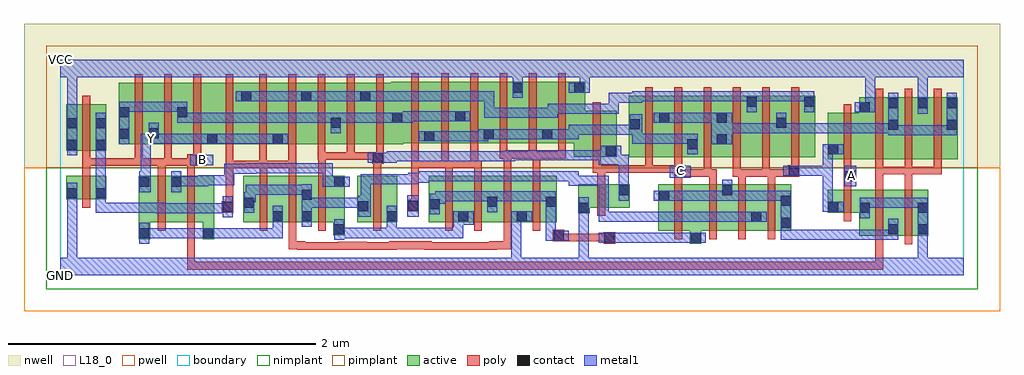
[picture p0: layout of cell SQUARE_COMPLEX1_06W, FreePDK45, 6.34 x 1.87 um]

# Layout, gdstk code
import gdstk
lib = gdstk.Library(unit=1e-6, precision=1e-09)
def R(c, l, rs):  # rectangles x0, y0, x1, y1
    for r in rs: c.add(gdstk.rectangle(r[:2], r[2:], *l))
def A(c, l, x, y, w, h, nx, ny, dx, dy):  # array of equal rectangles
    R(c, l, [(x+i*dx, y+j*dy, x+i*dx+w, y+j*dy+h) for i in range(nx) for j in range(ny)])
active = (1, 0)
pwell = (2, 0)
nwell = (3, 0)
nimplant = (4, 0)
pimplant = (5, 0)
poly = (9, 0)
contact = (10, 0)
metal1 = (11, 0)
L18_0 = (18, 0)
boundary = (235, 0)

square_complex1_06w = lib.new_cell('SQUARE_COMPLEX1_06W')
R(square_complex1_06w, active, [(4.09,0.205,4.165,0.42), (0.51,0.235,0.585,0.645), (0.925,0.235,1,0.535), (5.19,0.257,5.45,0.557), (5.375,0.257,5.64,0.557), (5.375,0.257,5.45,0.472), (5.565,0.257,5.64,0.557), (1.775,0.26,1.85,0.645), (3.885,0.29,4.165,0.59), (4.09,0.29,4.37,0.59), (4.295,0.29,4.56,0.59), (4.485,0.29,4.56,0.59), (4.485,0.29,4.75,0.59), (4.675,0.29,4.75,0.59), (4.295,0.33,4.37,0.59), (5.19,0.33,5.265,0.475), (0.51,0.345,0.79,0.645), (0.715,0.345,0.79,0.645), (0.715,0.345,1,0.645), (1.19,0.345,1.265,0.645), (1.19,0.345,1.45,0.645), (1.375,0.345,1.64,0.645), (1.375,0.345,1.45,0.55), (1.565,0.345,1.64,0.645), (1.565,0.345,1.85,0.645), (1.93,0.345,2.005,0.645), (1.93,0.345,2.19,0.645), (2.115,0.345,2.19,0.55), (2.395,0.345,2.47,0.55), (2.395,0.345,2.657,0.645), (2.582,0.345,2.657,0.42), (2.582,0.345,2.845,0.645), (2.77,0.345,3.035,0.645), (2.77,0.345,2.845,0.55), (2.96,0.345,3.225,0.645), (2.96,0.345,3.035,0.42), (3.15,0.345,3.225,0.645), (3.885,0.345,3.96,0.59), (3.365,0.402,3.44,0.59), (4.985,0.407,5.265,0.557), (4.985,0.407,5.06,0.557), (3.365,0.44,3.7,0.59), (3.625,0.46,3.7,0.59), (0.04,0.495,0.115,0.645), (0.04,0.495,0.3,0.645), (0.225,0.495,0.3,0.645), (4.985,0.755,5.265,1.055), (5.19,0.755,5.45,1.155), (5.375,0.755,5.45,1.155), (5.375,0.755,5.64,1.155), (5.565,0.755,5.83,1.155), (5.755,0.755,5.83,1.155), (3.695,0.765,3.96,1.165), (3.695,0.765,3.77,1.07), (3.885,0.765,4.145,1.165), (4.07,0.765,4.335,1.165), (4.26,0.765,4.335,1.07), (4.26,0.765,4.53,1.165), (4.455,0.765,4.53,1.165), (4.455,0.765,4.72,1.165), (4.645,0.765,4.905,1.165), (4.645,0.765,4.72,1.07), (3.335,0.77,3.615,1.07), (3.54,0.77,3.615,0.917), (4.985,0.78,5.06,0.94), (5.19,0.792,5.265,1.13), (0.04,0.81,0.115,1.11), (0.04,0.81,0.3,1.11), (0.225,0.81,0.3,1.11), (4.07,0.815,4.145,0.94), (0.38,0.85,0.645,1.25), (0.38,0.85,0.455,1.2), (0.57,0.85,0.83,1.25), (0.57,0.85,0.645,1.07), (0.755,0.85,1.025,1.25), (0.95,0.85,1.025,1.07), (0.95,0.85,1.245,1.25), (1.17,0.85,1.452,1.25), (1.377,0.85,1.637,1.25), (1.377,0.85,1.452,0.94), (1.562,0.85,1.827,1.25), (1.752,0.85,1.827,1.07), (1.752,0.85,2.02,1.25), (1.945,0.85,2.227,1.25), (3.885,0.85,3.96,1.07), (2.152,0.857,2.435,1.257), (2.36,0.857,2.635,1.257), (2.56,0.857,2.82,1.257), (2.745,0.857,3.01,1.257), (2.935,0.857,3.202,1.257), (3.127,0.857,3.41,1.257), (2.152,0.865,2.227,1.07), (2.36,0.865,2.435,0.94), (2.745,0.865,2.82,1.07), (3.127,0.865,3.202,1.07), (5.565,0.865,5.64,1.155), (2.56,0.885,2.635,1.07), (0.755,0.907,0.83,1.2), (1.17,0.907,1.245,1.2), (1.562,0.907,1.637,1.2), (1.945,0.907,2.02,1.2), (2.935,0.907,3.01,1.257), (3.335,0.907,3.41,1.257), (4.83,0.907,4.905,1.165)])
R(square_complex1_06w, pwell, [(-0.235,-0.235,6.105,0.7)])
R(square_complex1_06w, nwell, [(-0.235,0.7,6.105,1.635)])
R(square_complex1_06w, nimplant, [(-0.09,-0.09,5.96,0.7)])
R(square_complex1_06w, pimplant, [(-0.09,0.7,5.96,1.49)])
A(square_complex1_06w, poly, 4.215, 0.235, 0.05, 0.41, 3, 1, 0.19, 0)
A(square_complex1_06w, poly, 1.295, 0.29, 0.05, 0.41, 3, 1, 0.19, 0)
A(square_complex1_06w, poly, 2.5, 0.29, 0.05, 0.41, 4, 1, 0.19, 0)
A(square_complex1_06w, poly, 4.215, 0.595, 0.05, 0.095, 3, 1, 0.19, 0)
A(square_complex1_06w, poly, 4.18, 0.64, 0.05, 0.12, 3, 1, 0.19, 0)
A(square_complex1_06w, poly, 4.18, 0.64, 0.085, 0.05, 3, 1, 0.19, 0)
A(square_complex1_06w, poly, 5.295, 0.655, 0.05, 0.095, 3, 1, 0.19, 0)
A(square_complex1_06w, poly, 5.295, 0.7, 0.05, 0.51, 3, 1, 0.19, 0)
A(square_complex1_06w, poly, 3.8, 0.71, 0.05, 0.51, 6, 1, 0.19, 0)
A(square_complex1_06w, poly, 1.672, 0.75, 0.05, 0.095, 3, 1, 0.19, 0)
A(square_complex1_06w, poly, 2.855, 0.757, 0.05, 0.095, 3, 1, 0.19, 0)
A(square_complex1_06w, poly, 0.485, 0.795, 0.05, 0.51, 3, 1, 0.19, 0)
A(square_complex1_06w, poly, 1.292, 0.795, 0.05, 0.51, 5, 1, 0.19, 0)
A(square_complex1_06w, poly, 2.475, 0.802, 0.05, 0.51, 5, 1, 0.19, 0)
R(square_complex1_06w, poly, [(0.825,0.037,0.875,0.087), (0.825,0.037,0.875,0.087), (0.825,0.037,0.875,0.087), (0.825,0.037,1.21,0.087), (0.825,0.037,0.875,0.34), (1.16,0.037,1.21,0.087), (1.16,0.037,1.21,0.087), (1.16,0.037,1.21,0.087), (1.16,0.037,1.365,0.087), (1.315,0.037,1.365,0.087), (1.315,0.037,1.365,0.087), (1.315,0.037,1.365,0.087), (1.315,0.037,1.365,0.087), (1.315,0.037,1.365,0.087), (1.315,0.037,1.497,0.087), (1.447,0.037,1.497,0.087), (1.447,0.037,1.497,0.087), (1.447,0.037,1.497,0.087), (1.447,0.037,1.725,0.087), (1.675,0.037,1.725,0.087), (1.675,0.037,1.857,0.087), (1.807,0.037,1.857,0.087), (1.807,0.037,1.857,0.087), (1.807,0.037,1.857,0.087), (1.807,0.037,2.055,0.087), (2.005,0.037,2.055,0.087), (2.005,0.037,2.055,0.087), (2.005,0.037,2.055,0.087), (2.005,0.037,2.187,0.087), (2.137,0.037,2.187,0.087), (2.137,0.037,2.32,0.087), (2.27,0.037,2.32,0.087), (2.27,0.037,2.32,0.087), (2.27,0.037,2.32,0.087), (2.27,0.037,2.547,0.087), (2.497,0.037,2.547,0.087), (2.497,0.037,2.547,0.087), (2.497,0.037,2.547,0.087), (2.497,0.037,2.772,0.087), (2.722,0.037,2.772,0.087), (2.722,0.037,2.932,0.087), (2.882,0.037,2.932,0.087), (2.882,0.037,2.932,0.087), (2.882,0.037,2.932,0.087), (2.882,0.037,3.117,0.087), (3.067,0.037,3.117,0.087), (3.067,0.037,3.117,0.087), (3.067,0.037,3.117,0.087), (3.067,0.037,3.377,0.087), (3.327,0.037,3.377,0.087), (3.327,0.037,3.377,0.087), (3.327,0.037,3.377,0.087), (3.327,0.037,3.377,0.087), (3.327,0.037,3.377,0.087), (3.327,0.037,3.58,0.087), (3.53,0.037,3.58,0.087), (3.53,0.037,3.58,0.087), (3.53,0.037,3.58,0.087), (3.53,0.037,3.712,0.087), (3.662,0.037,3.712,0.087), (3.662,0.037,3.845,0.087), (3.795,0.037,3.845,0.087), (3.795,0.037,3.845,0.087), (3.795,0.037,3.845,0.087), (3.795,0.037,4.097,0.087), (4.047,0.037,4.097,0.087), (4.047,0.037,4.097,0.087), (4.047,0.037,4.097,0.087), (4.047,0.037,4.287,0.087), (4.237,0.037,4.287,0.087), (4.237,0.037,4.287,0.087), (4.237,0.037,4.287,0.087), (4.237,0.037,4.477,0.087), (4.427,0.037,4.477,0.087), (4.427,0.037,4.477,0.087), (4.427,0.037,4.477,0.087), (4.427,0.037,4.645,0.087), (4.595,0.037,4.645,0.087), (4.595,0.037,4.645,0.087), (4.595,0.037,4.645,0.087), (4.595,0.037,4.815,0.087), (4.765,0.037,4.815,0.087), (4.765,0.037,5.007,0.087), (4.957,0.037,5.007,0.087), (4.957,0.037,5.007,0.087), (4.957,0.037,5.007,0.087), (4.957,0.037,5.14,0.087), (5.09,0.037,5.14,0.087), (5.09,0.037,5.14,0.087), (5.09,0.037,5.14,0.087), (5.09,0.037,5.345,0.087), (5.295,0.037,5.345,0.087), (5.295,0.037,5.345,0.087), (5.295,0.037,5.345,0.087), (5.295,0.037,5.345,0.252), (1.542,0.165,1.725,0.215), (1.542,0.165,1.592,0.22), (1.675,0.165,1.725,0.215), (1.675,0.165,1.857,0.215), (1.807,0.165,1.857,0.217), (1.94,0.165,2.052,0.215), (1.94,0.165,1.99,0.217), (2.002,0.165,2.052,0.215), (2.002,0.165,2.187,0.215), (2.137,0.165,2.187,0.22), (2.365,0.165,2.415,0.22), (2.365,0.165,2.582,0.215), (2.532,0.165,2.582,0.215), (2.532,0.165,2.642,0.215), (2.592,0.165,2.642,0.215), (2.592,0.165,2.715,0.215), (2.665,0.165,2.715,0.215), (2.665,0.165,2.837,0.215), (2.787,0.165,2.837,0.22), (1.807,0.167,1.857,0.217), (1.807,0.167,1.857,0.217), (1.807,0.167,1.99,0.217), (1.485,0.17,1.535,0.22), (1.485,0.17,1.535,0.34), (1.485,0.17,1.592,0.22), (2.137,0.17,2.187,0.22), (2.137,0.17,2.187,0.22), (2.137,0.17,2.415,0.22), (2.787,0.17,2.93,0.22), (2.88,0.17,2.93,0.22), (2.88,0.17,2.93,0.34), (5.295,0.202,5.345,0.612), (5.485,0.202,5.535,0.612), (3.53,0.205,3.605,0.28), (3.2,0.22,3.275,0.295), (3.225,0.22,3.58,0.27), (3.53,0.22,3.58,0.27), (3.53,0.22,3.58,0.27), (3.99,0.235,4.04,0.645), (0.635,0.29,0.685,0.7), (0.825,0.29,0.875,0.7), (2.035,0.29,2.085,0.7), (5.09,0.352,5.14,0.612), (3.49,0.385,3.54,0.645), (1.05,0.407,1.125,0.482), (2.255,0.415,2.33,0.49), (1.075,0.432,1.125,0.482), (1.075,0.432,1.125,0.482), (1.075,0.432,1.125,0.745), (0.145,0.44,0.195,0.7), (2.28,0.44,2.33,0.745), (5.09,0.562,5.14,0.657), (5.295,0.562,5.345,0.705), (5.485,0.562,5.535,0.705), (3.49,0.595,3.54,0.715), (3.99,0.595,4.04,0.69), (5.09,0.607,5.165,0.682), (5.09,0.632,5.14,0.75), (3.99,0.64,4.065,0.715), (4.015,0.64,4.23,0.69), (4.18,0.64,4.23,0.69), (4.18,0.64,4.23,0.69), (4.405,0.64,4.61,0.69), (4.56,0.64,4.61,0.69), (4.56,0.64,4.61,0.69), (4.595,0.64,4.777,0.69), (4.727,0.64,4.777,0.69), (4.727,0.64,4.777,0.69), (4.727,0.64,4.802,0.715), (0.145,0.65,0.195,0.76), (0.635,0.65,0.685,0.76), (0.825,0.65,0.875,0.76), (1.295,0.65,1.345,0.745), (1.485,0.65,1.535,0.745), (1.675,0.65,1.725,0.8), (2.035,0.65,2.085,0.775), (2.5,0.65,2.55,0.745), (2.69,0.65,2.74,0.745), (2.88,0.65,2.93,0.807), (3.07,0.65,3.12,0.807), (5.295,0.655,5.345,0.705), (5.295,0.655,5.535,0.705), (5.485,0.655,5.535,0.705), (5.485,0.655,5.535,0.705), (5.485,0.655,5.535,0.705), (5.485,0.655,5.725,0.705), (5.675,0.655,5.725,0.705), (5.675,0.655,5.725,0.705), (5.675,0.655,5.725,0.705), (3.46,0.665,3.51,0.765), (3.46,0.665,3.54,0.715), (3.49,0.665,3.712,0.715), (3.662,0.665,3.712,0.715), (3.662,0.665,3.712,0.715), (3.662,0.665,3.712,0.715), (3.662,0.665,3.85,0.715), (3.8,0.665,3.85,0.76), (3.8,0.665,3.85,0.715), (3.8,0.665,4.04,0.715), (3.99,0.665,4.04,0.76), (3.99,0.665,4.04,0.715), (3.99,0.665,4.04,0.715), (4.75,0.665,4.8,0.76), (1.075,0.695,1.125,0.745), (1.075,0.695,1.125,0.745), (1.075,0.695,1.125,0.745), (1.075,0.695,1.125,0.845), (1.075,0.695,1.342,0.745), (1.292,0.695,1.342,0.845), (1.292,0.695,1.345,0.745), (1.295,0.695,1.345,0.745), (1.295,0.695,1.345,0.745), (1.295,0.695,1.532,0.745), (1.482,0.695,1.532,0.845), (1.482,0.695,1.535,0.745), (2.28,0.695,2.33,0.745), (2.28,0.695,2.33,0.745), (2.28,0.695,2.33,0.745), (2.28,0.695,2.33,0.745), (2.28,0.695,2.33,0.745), (2.28,0.695,2.33,0.852), (2.28,0.695,2.525,0.745), (2.475,0.695,2.525,0.852), (2.475,0.695,2.55,0.745), (2.5,0.695,2.55,0.745), (2.5,0.695,2.55,0.745), (2.5,0.695,2.715,0.745), (2.665,0.695,2.715,0.852), (2.665,0.695,2.74,0.745), (5.09,0.7,5.14,1.11), (0.145,0.71,0.195,0.805), (0.145,0.71,0.195,0.76), (0.145,0.71,0.402,0.76), (0.352,0.71,0.402,0.76), (0.352,0.71,0.402,0.76), (0.352,0.71,0.402,0.76), (0.352,0.71,0.535,0.76), (0.485,0.71,0.535,0.76), (0.485,0.71,0.535,0.76), (0.485,0.71,0.535,0.76), (0.485,0.71,0.685,0.76), (0.485,0.71,0.535,0.845), (0.635,0.71,0.725,0.76), (0.675,0.71,0.725,0.76), (0.675,0.71,0.725,0.76), (0.675,0.71,0.875,0.76), (0.675,0.71,0.725,0.845), (0.825,0.71,0.95,0.785), (3.46,0.715,3.51,1.125), (2.027,0.725,2.102,0.8), (0.865,0.735,0.915,0.845), (1.672,0.75,1.725,0.8), (1.675,0.75,1.725,0.8), (1.675,0.75,1.725,0.8), (1.675,0.75,1.912,0.8), (1.862,0.75,1.912,0.8), (1.862,0.75,2.055,0.8), (2.005,0.75,2.055,0.8), (2.005,0.75,2.077,0.8), (0.145,0.755,0.195,1.165), (2.855,0.757,2.93,0.807), (2.88,0.757,3.095,0.807), (3.045,0.757,3.095,0.807), (3.045,0.757,3.095,0.807), (3.045,0.757,3.12,0.807), (3.07,0.757,3.285,0.807), (3.235,0.757,3.285,0.807), (3.235,0.757,3.285,0.807), (3.235,0.757,3.285,0.807), (1.075,0.795,1.125,1.305), (2.28,0.802,2.33,1.312)])
A(square_complex1_06w, contact, 5.38, 1.085, 0.065, 0.065, 3, 1, 0.19, 0)
R(square_complex1_06w, contact, [(3.535,0.21,3.6,0.275), (4.095,0.21,4.16,0.275), (3.205,0.225,3.27,0.29), (0.515,0.24,0.58,0.305), (0.93,0.24,0.995,0.305), (1.78,0.265,1.845,0.33), (5.57,0.265,5.635,0.33), (5.38,0.267,5.445,0.332), (4.68,0.31,4.745,0.375), (4.49,0.347,4.555,0.412), (1.38,0.35,1.445,0.415), (1.57,0.35,1.635,0.415), (2.12,0.35,2.185,0.415), (2.587,0.35,2.652,0.415), (2.965,0.35,3.03,0.415), (5.195,0.405,5.26,0.47), (5.57,0.405,5.635,0.47), (3.37,0.407,3.435,0.472), (1.055,0.412,1.12,0.477), (4.99,0.412,5.055,0.477), (1.935,0.415,2,0.48), (2.26,0.42,2.325,0.485), (2.4,0.43,2.465,0.495), (1.195,0.44,1.26,0.505), (2.775,0.445,2.84,0.51), (3.155,0.445,3.22,0.51), (4.68,0.45,4.745,0.515), (3.89,0.485,3.955,0.55), (1.57,0.49,1.635,0.555), (0.045,0.5,0.11,0.565), (0.23,0.5,0.295,0.565), (3.63,0.52,3.695,0.585), (4.3,0.52,4.365,0.585), (0.515,0.575,0.58,0.64), (0.72,0.575,0.785,0.64), (1.78,0.575,1.845,0.64), (5.095,0.612,5.16,0.677), (3.995,0.645,4.06,0.71), (4.732,0.645,4.797,0.71), (0.88,0.715,0.945,0.78), (2.032,0.73,2.097,0.795), (3.545,0.775,3.61,0.84), (4.99,0.785,5.055,0.85), (0.045,0.815,0.11,0.88), (0.23,0.815,0.295,0.88), (4.075,0.82,4.14,0.885), (4.265,0.852,4.33,0.917), (0.955,0.855,1.02,0.92), (1.382,0.855,1.447,0.92), (2.365,0.87,2.43,0.935), (2.75,0.885,2.815,0.95), (3.132,0.885,3.197,0.95), (0.385,0.887,0.45,0.952), (0.575,0.89,0.64,0.955), (5.38,0.945,5.445,1.01), (5.76,0.945,5.825,1.01), (3.7,0.947,3.765,1.012), (0.045,0.955,0.11,1.02), (0.23,0.955,0.295,1.02), (1.757,0.957,1.822,1.022), (4.65,0.957,4.715,1.022), (2.157,0.992,2.222,1.057), (3.89,0.992,3.955,1.057), (4.265,0.992,4.33,1.057), (2.565,1,2.63,1.065), (0.385,1.027,0.45,1.092), (0.76,1.027,0.825,1.092), (5.195,1.06,5.26,1.125), (4.46,1.095,4.525,1.16), (4.835,1.095,4.9,1.16), (1.175,1.13,1.24,1.195), (1.567,1.13,1.632,1.195), (1.95,1.13,2.015,1.195), (2.94,1.187,3.005,1.252), (3.34,1.187,3.405,1.252)])
R(square_complex1_06w, metal1, [(0,0,5.87,0.115), (0.045,0.05,0.11,0.115), (0.045,0.05,0.11,0.115), (0.045,0.05,0.11,0.115), (0.045,0.05,0.11,0.115), (0.045,0.05,0.11,0.115), (0.045,0.05,0.11,0.115), (0.045,0.05,0.11,0.53), (2.93,0.05,2.995,0.115), (2.93,0.05,2.995,0.115), (2.93,0.05,2.995,0.115), (2.93,0.05,2.995,0.115), (2.93,0.05,2.995,0.415), (3.37,0.05,3.435,0.115), (3.37,0.05,3.435,0.115), (3.37,0.05,3.435,0.115), (3.37,0.05,3.435,0.115), (3.37,0.05,3.435,0.437), (5.57,0.05,5.635,0.115), (5.57,0.05,5.635,0.115), (5.57,0.05,5.635,0.295), (0.515,0.205,0.58,0.34), (3.5,0.21,3.635,0.275), (3.57,0.21,3.635,0.275), (3.57,0.21,3.635,0.275), (3.57,0.21,3.782,0.275), (3.717,0.21,3.782,0.275), (3.717,0.21,3.782,0.275), (3.717,0.21,3.782,0.275), (3.717,0.21,3.987,0.275), (3.922,0.21,3.987,0.275), (3.922,0.21,3.987,0.275), (3.922,0.21,3.987,0.275), (3.922,0.21,4.125,0.275), (4.06,0.21,4.195,0.275), (3.155,0.225,3.22,0.29), (3.155,0.225,3.235,0.29), (3.155,0.225,3.22,0.475), (3.17,0.225,3.305,0.29), (1.78,0.23,1.845,0.365), (5.57,0.23,5.635,0.295), (5.57,0.23,5.635,0.295), (5.57,0.23,5.635,0.505), (4.68,0.232,4.745,0.297), (4.68,0.232,4.745,0.297), (4.68,0.232,4.745,0.297), (4.68,0.232,5.02,0.297), (4.68,0.232,4.745,0.34), (4.955,0.232,5.02,0.297), (4.955,0.232,5.02,0.297), (4.955,0.232,5.02,0.297), (4.955,0.232,5.02,0.297), (4.955,0.232,5.02,0.297), (4.955,0.232,5.157,0.297), (5.092,0.232,5.157,0.297), (5.092,0.232,5.157,0.297), (5.092,0.232,5.157,0.297), (5.092,0.232,5.445,0.297), (5.38,0.232,5.445,0.297), (5.38,0.232,5.445,0.297), (5.38,0.232,5.445,0.367), (0.515,0.24,0.587,0.305), (0.522,0.24,0.587,0.305), (0.522,0.24,0.822,0.305), (0.757,0.24,0.822,0.305), (0.757,0.24,0.822,0.305), (0.757,0.24,0.822,0.305), (0.757,0.24,0.96,0.305), (0.895,0.24,1.03,0.305), (0.965,0.24,1.03,0.305), (0.965,0.24,1.03,0.305), (0.965,0.24,1.275,0.305), (1.21,0.24,1.275,0.305), (1.21,0.24,1.445,0.305), (1.38,0.24,1.445,0.38), (1.78,0.242,1.91,0.307), (1.845,0.242,1.91,0.307), (1.845,0.242,2.047,0.307), (1.982,0.242,2.047,0.307), (1.982,0.242,2.047,0.307), (1.982,0.242,2.047,0.307), (1.982,0.242,2.185,0.307), (2.12,0.242,2.327,0.307), (2.12,0.242,2.185,0.45), (2.262,0.242,2.327,0.307), (2.262,0.242,2.457,0.307), (2.392,0.242,2.457,0.307), (2.392,0.242,2.617,0.307), (2.552,0.242,2.617,0.392), (4.68,0.275,4.745,0.55), (1.38,0.315,1.445,0.38), (1.38,0.315,1.445,0.45), (1.57,0.315,1.635,0.59), (2.552,0.327,2.617,0.392), (2.552,0.327,2.687,0.415), (3.5,0.347,3.565,0.412), (3.5,0.347,3.565,0.645), (3.5,0.347,3.645,0.412), (3.58,0.347,3.645,0.412), (3.58,0.347,3.782,0.412), (3.717,0.347,3.782,0.412), (3.717,0.347,3.782,0.412), (3.717,0.347,3.782,0.412), (3.717,0.347,3.937,0.412), (3.872,0.347,3.937,0.412), (3.872,0.347,3.937,0.412), (3.872,0.347,3.937,0.412), (3.872,0.347,4.157,0.412), (4.092,0.347,4.157,0.412), (4.092,0.347,4.157,0.412), (4.092,0.347,4.157,0.412), (4.092,0.347,4.295,0.412), (4.23,0.347,4.295,0.412), (4.23,0.347,4.432,0.412), (4.367,0.347,4.432,0.412), (4.367,0.347,4.52,0.412), (4.455,0.347,4.59,0.412), (2.93,0.35,3.065,0.415), (5.195,0.37,5.26,0.505), (3.37,0.372,3.435,0.437), (3.37,0.372,3.435,0.437), (3.37,0.372,3.435,0.507), (1.055,0.377,1.12,0.512), (1.935,0.38,2.017,0.515), (2.255,0.38,2.33,0.52), (2.4,0.395,2.465,0.53), (0.62,0.402,0.822,0.467), (0.62,0.402,0.685,0.472), (0.757,0.402,0.822,0.467), (0.757,0.402,0.822,0.467), (0.757,0.402,0.822,0.467), (0.757,0.402,1.055,0.467), (0.99,0.402,1.055,0.467), (0.99,0.402,1.12,0.467), (1.195,0.405,1.26,0.54), (0.23,0.407,0.295,0.472), (0.23,0.407,0.432,0.472), (0.23,0.407,0.295,0.53), (0.367,0.407,0.432,0.472), (0.367,0.407,0.635,0.472), (0.57,0.407,0.635,0.472), (0.57,0.407,0.685,0.472), (2.775,0.41,2.84,0.545), (3.155,0.41,3.22,0.545), (4.955,0.412,5.09,0.477), (4.955,0.412,5.02,0.71), (1.57,0.437,1.772,0.502), (1.707,0.437,1.772,0.502), (1.707,0.437,1.842,0.502), (1.777,0.437,1.842,0.502), (1.777,0.437,1.91,0.502), (1.845,0.437,1.91,0.502), (1.845,0.437,2,0.502), (5.195,0.44,5.397,0.505), (5.332,0.44,5.397,0.505), (5.332,0.44,5.397,0.505), (5.332,0.44,5.397,0.505), (5.332,0.44,5.635,0.505), (5.57,0.44,5.635,0.505), (5.57,0.44,5.635,0.505), (5.57,0.44,5.635,0.505), (5.57,0.44,5.635,0.505), (1.952,0.45,2.017,0.657), (0.045,0.465,0.11,0.6), (0.23,0.465,0.295,0.53), (0.23,0.465,0.295,0.53), (0.23,0.465,0.295,0.6), (2.4,0.465,2.502,0.53), (2.437,0.465,2.502,0.545), (1.195,0.475,1.27,0.54), (1.205,0.475,1.27,0.587), (2.437,0.48,2.617,0.545), (2.552,0.48,2.617,0.545), (2.552,0.48,2.82,0.545), (2.755,0.48,2.82,0.545), (2.755,0.48,2.84,0.545), (2.775,0.48,2.957,0.545), (2.892,0.48,2.957,0.545), (2.892,0.48,2.995,0.545), (2.93,0.48,2.995,0.545), (2.93,0.48,3.095,0.545), (3.03,0.48,3.095,0.545), (3.03,0.48,3.22,0.545), (3.63,0.485,3.695,0.62), (3.855,0.485,3.99,0.55), (3.925,0.485,3.99,0.55), (3.925,0.485,3.99,0.55), (3.925,0.485,4.157,0.55), (4.092,0.485,4.157,0.55), (4.092,0.485,4.157,0.55), (4.092,0.485,4.157,0.55), (4.092,0.485,4.365,0.55), (4.3,0.485,4.365,0.62), (4.3,0.485,4.432,0.55), (4.367,0.485,4.432,0.55), (4.367,0.485,4.57,0.55), (4.505,0.485,4.57,0.55), (4.505,0.485,4.57,0.55), (4.505,0.485,4.57,0.55), (4.505,0.485,4.745,0.55), (1.205,0.522,1.412,0.587), (1.347,0.522,1.412,0.587), (1.347,0.522,1.635,0.587), (1.57,0.522,1.635,0.587), (1.57,0.522,1.635,0.587), (0.23,0.535,0.295,0.845), (0.515,0.54,0.587,0.675), (0.72,0.54,0.785,0.675), (3.63,0.555,3.695,0.782), (1.707,0.575,1.81,0.64), (1.707,0.575,1.772,0.727), (1.745,0.575,1.88,0.64), (0.72,0.577,0.892,0.642), (0.827,0.577,0.892,0.642), (0.827,0.577,0.962,0.642), (0.897,0.577,0.962,0.65), (5.092,0.577,5.172,0.712), (3.305,0.58,3.565,0.645), (3.305,0.58,3.37,0.675), (3.5,0.58,3.565,0.645), (0.897,0.585,1.132,0.65), (1.067,0.585,1.132,0.725), (1.952,0.592,2.017,0.657), (1.952,0.592,2.047,0.657), (1.982,0.592,2.047,0.657), (1.982,0.592,2.187,0.657), (2.122,0.592,2.187,0.657), (2.122,0.592,2.327,0.657), (2.262,0.592,2.327,0.667), (2.262,0.602,2.395,0.667), (2.33,0.602,2.395,0.675), (0.522,0.61,0.587,0.92), (2.33,0.61,2.617,0.675), (2.552,0.61,2.617,0.675), (2.552,0.61,2.617,0.675), (2.552,0.61,2.617,0.675), (2.552,0.61,2.755,0.675), (2.69,0.61,2.755,0.675), (2.69,0.61,2.755,0.675), (2.69,0.61,2.755,0.675), (2.69,0.61,2.957,0.675), (2.892,0.61,2.957,0.675), (2.892,0.61,2.995,0.675), (2.93,0.61,2.995,0.675), (2.93,0.61,3.095,0.675), (3.03,0.61,3.095,0.675), (3.03,0.61,3.232,0.675), (3.167,0.61,3.232,0.675), (3.167,0.61,3.37,0.675), (3.305,0.61,3.37,0.675), (3.305,0.61,3.37,0.675), (3.96,0.635,4.095,0.712), (4.697,0.645,4.832,0.71), (4.767,0.645,5.02,0.71), (4.955,0.645,5.02,0.71), (4.955,0.645,5.02,0.71), (4.955,0.645,5.02,0.71), (4.955,0.645,5.02,0.85), (1.067,0.66,1.275,0.725), (1.21,0.66,1.275,0.727), (1.21,0.662,1.412,0.727), (1.347,0.662,1.412,0.727), (1.347,0.662,1.412,0.727), (1.347,0.662,1.412,0.727), (1.347,0.662,1.585,0.727), (1.52,0.662,1.585,0.727), (1.52,0.662,1.585,0.727), (1.52,0.662,1.585,0.727), (1.52,0.662,1.772,0.727), (0.845,0.715,0.995,0.782), (3.5,0.717,3.645,0.782), (3.5,0.717,3.565,0.812), (3.58,0.717,3.645,0.84), (3.58,0.717,3.695,0.782), (1.997,0.73,2.132,0.795), (2.067,0.73,2.187,0.795), (2.122,0.73,2.187,0.805), (2.122,0.74,2.287,0.805), (2.222,0.74,2.287,0.805), (2.222,0.74,2.457,0.805), (2.392,0.74,2.457,0.805), (2.392,0.74,2.602,0.805), (2.537,0.74,2.602,0.805), (2.537,0.74,2.602,0.805), (2.537,0.74,2.602,0.805), (2.537,0.74,2.755,0.805), (2.69,0.74,2.755,0.805), (2.69,0.74,2.755,0.805), (2.69,0.74,2.755,0.805), (2.69,0.74,2.957,0.805), (2.892,0.74,2.957,0.812), (2.892,0.747,2.995,0.812), (2.93,0.747,2.995,0.812), (2.93,0.747,3.095,0.812), (3.03,0.747,3.095,0.812), (3.03,0.747,3.232,0.812), (3.167,0.747,3.232,0.812), (3.167,0.747,3.37,0.812), (3.305,0.747,3.37,0.812), (3.305,0.747,3.37,0.812), (3.305,0.747,3.37,0.812), (3.305,0.747,3.565,0.812), (3.51,0.775,3.645,0.84), (0.045,0.78,0.11,1.055), (0.23,0.78,0.295,0.845), (0.23,0.78,0.295,0.845), (0.23,0.78,0.295,1.055), (4.075,0.785,4.14,0.92), (4.955,0.785,5.09,0.85), (0.385,0.852,0.45,1.127), (4.23,0.852,4.365,1.057), (0.522,0.855,0.657,0.92), (0.575,0.855,0.64,0.92), (0.575,0.855,0.64,0.92), (0.575,0.855,0.64,0.92), (0.575,0.855,0.64,0.99), (0.575,0.855,0.822,0.92), (0.757,0.855,0.822,0.92), (0.757,0.855,0.822,0.92), (0.757,0.855,0.822,0.92), (0.757,0.855,0.985,0.92), (0.92,0.855,1.055,0.92), (0.99,0.855,1.055,0.92), (0.99,0.855,1.055,0.92), (0.99,0.855,1.275,0.92), (1.21,0.855,1.275,0.92), (1.21,0.855,1.412,0.92), (1.347,0.855,1.412,0.92), (1.347,0.855,1.412,0.92), (1.347,0.855,1.482,0.92), (3.717,0.855,3.782,0.92), (3.717,0.855,3.782,0.92), (3.717,0.855,3.782,0.92), (3.717,0.855,3.987,0.92), (3.717,0.855,3.782,0.977), (3.922,0.855,3.987,0.92), (3.922,0.855,3.987,0.92), (3.922,0.855,3.987,0.92), (3.922,0.855,4.14,0.92), (2.33,0.87,2.465,0.935), (2.4,0.87,2.602,0.935), (2.537,0.87,2.602,0.935), (2.537,0.87,2.602,0.935), (2.537,0.87,2.602,0.935), (2.537,0.87,2.78,0.935), (2.715,0.87,2.78,0.95), (2.715,0.885,2.78,0.95), (2.715,0.885,2.85,0.95), (2.785,0.885,2.957,0.95), (2.892,0.885,2.957,0.95), (2.892,0.885,2.995,0.95), (2.93,0.885,2.995,0.95), (2.93,0.885,3.095,0.95), (3.03,0.885,3.095,0.95), (3.03,0.885,3.162,0.95), (3.097,0.885,3.232,0.95), (3.167,0.885,3.232,0.95), (3.167,0.885,3.232,0.95), (3.167,0.885,3.232,0.95), (3.167,0.885,3.232,0.95), (3.167,0.885,3.37,0.95), (3.305,0.885,3.37,0.977), (5.38,0.91,5.445,1.185), (5.38,0.91,5.687,0.975), (5.622,0.91,5.687,0.975), (5.622,0.91,5.687,0.975), (5.622,0.91,5.687,0.975), (5.622,0.91,5.825,0.975), (5.76,0.91,5.825,0.975), (5.76,0.91,5.825,0.975), (5.76,0.91,5.825,1.185), (3.305,0.912,3.572,0.977), (3.507,0.912,3.572,0.977), (3.507,0.912,3.572,0.977), (3.507,0.912,3.572,0.977), (3.507,0.912,3.765,0.977), (3.7,0.912,3.782,1.047), (1.757,0.922,1.822,1.057), (4.3,0.922,4.432,0.987), (4.367,0.922,4.432,0.987), (4.367,0.922,4.577,0.987), (4.512,0.922,4.577,0.987), (4.512,0.922,4.577,0.987), (4.512,0.922,4.577,0.987), (4.512,0.922,4.715,0.987), (4.65,0.922,4.715,1.057), (4.65,0.922,4.882,0.987), (4.817,0.922,4.882,0.987), (4.817,0.922,4.882,0.987), (4.817,0.922,4.882,0.987), (4.817,0.922,5.02,0.987), (4.955,0.922,5.02,0.987), (4.955,0.922,5.157,0.987), (5.092,0.922,5.157,0.987), (5.092,0.922,5.157,0.987), (5.092,0.922,5.157,0.987), (5.092,0.922,5.445,0.987), (5.38,0.922,5.445,0.987), (5.38,0.922,5.445,0.987), (0.045,0.99,0.11,1.35), (0.76,0.992,0.825,1.057), (0.76,0.992,0.825,1.057), (0.76,0.992,0.825,1.127), (0.76,0.992,1.067,1.057), (1.002,0.992,1.067,1.057), (1.002,0.992,1.067,1.057), (1.002,0.992,1.067,1.057), (1.002,0.992,1.275,1.057), (1.21,0.992,1.275,1.057), (1.21,0.992,1.275,1.057), (1.21,0.992,1.275,1.057), (1.21,0.992,1.412,1.057), (1.347,0.992,1.412,1.057), (1.347,0.992,1.585,1.057), (1.52,0.992,1.585,1.057), (1.52,0.992,1.585,1.057), (1.52,0.992,1.585,1.057), (1.52,0.992,1.772,1.057), (1.707,0.992,1.772,1.057), (1.707,0.992,1.822,1.057), (1.757,0.992,1.91,1.057), (1.845,0.992,1.91,1.057), (1.845,0.992,2.047,1.057), (1.982,0.992,2.047,1.057), (1.982,0.992,2.047,1.057), (1.982,0.992,2.047,1.057), (1.982,0.992,2.187,1.057), (2.122,0.992,2.257,1.057), (2.192,0.992,2.29,1.057), (2.225,0.992,2.29,1.065), (3.855,0.992,3.99,1.057), (3.925,0.992,3.99,1.057), (3.925,0.992,3.99,1.057), (3.925,0.992,4.157,1.057), (4.092,0.992,4.157,1.057), (4.092,0.992,4.295,1.057), (4.23,0.992,4.295,1.057), (4.23,0.992,4.295,1.057), (2.225,1,2.455,1.065), (2.39,1,2.455,1.065), (2.39,1,2.595,1.065), (2.53,1,2.595,1.065), (2.53,1,2.595,1.065), (2.53,1,2.665,1.065), (2.755,1.022,2.957,1.087), (2.755,1.022,2.82,1.195), (2.892,1.022,2.957,1.087), (2.892,1.022,2.995,1.087), (2.93,1.022,2.995,1.087), (2.93,1.022,3.095,1.087), (3.03,1.022,3.095,1.087), (3.03,1.022,3.232,1.087), (3.167,1.022,3.232,1.115), (3.167,1.05,3.427,1.115), (3.362,1.05,3.427,1.115), (3.362,1.05,3.427,1.115), (3.362,1.05,3.427,1.115), (3.362,1.05,3.627,1.115), (3.562,1.05,3.627,1.115), (3.562,1.05,3.627,1.115), (3.562,1.05,3.627,1.185), (5.57,1.05,5.635,1.185), (4.46,1.06,4.525,1.195), (4.835,1.06,4.9,1.195), (5.16,1.06,5.295,1.125), (5.23,1.06,5.295,1.35), (0.385,1.062,0.45,1.127), (0.385,1.062,0.45,1.127), (0.385,1.062,0.647,1.127), (0.582,1.062,0.647,1.127), (0.582,1.062,0.647,1.127), (0.582,1.062,0.647,1.127), (0.582,1.062,0.825,1.127), (3.562,1.12,3.782,1.185), (3.717,1.12,3.782,1.195), (5.57,1.12,5.635,1.35), (1.14,1.13,1.275,1.195), (1.21,1.13,1.275,1.195), (1.21,1.13,1.275,1.195), (1.21,1.13,1.412,1.195), (1.347,1.13,1.412,1.195), (1.347,1.13,1.597,1.195), (1.532,1.13,1.597,1.195), (1.532,1.13,1.597,1.195), (1.532,1.13,1.667,1.195), (1.602,1.13,1.772,1.195), (1.707,1.13,1.772,1.195), (1.707,1.13,1.825,1.195), (1.76,1.13,1.825,1.195), (1.76,1.13,1.91,1.195), (1.845,1.13,1.91,1.195), (1.845,1.13,1.98,1.195), (1.915,1.13,2.05,1.195), (1.985,1.13,2.05,1.195), (1.985,1.13,2.05,1.195), (1.985,1.13,2.187,1.195), (2.122,1.13,2.187,1.195), (2.122,1.13,2.335,1.195), (2.27,1.13,2.335,1.195), (2.27,1.13,2.457,1.195), (2.392,1.13,2.457,1.195), (2.392,1.13,2.617,1.195), (2.552,1.13,2.617,1.195), (2.552,1.13,2.617,1.195), (2.552,1.13,2.617,1.195), (2.552,1.13,2.82,1.195), (2.755,1.13,2.82,1.195), (2.755,1.13,2.82,1.195), (3.717,1.13,3.782,1.195), (3.717,1.13,3.782,1.195), (3.717,1.13,3.987,1.195), (3.922,1.13,3.987,1.195), (3.922,1.13,3.987,1.195), (3.922,1.13,3.987,1.195), (3.922,1.13,4.157,1.195), (4.092,1.13,4.157,1.195), (4.092,1.13,4.295,1.195), (4.23,1.13,4.295,1.195), (4.23,1.13,4.295,1.195), (4.23,1.13,4.295,1.195), (4.23,1.13,4.432,1.195), (4.367,1.13,4.432,1.195), (4.367,1.13,4.525,1.195), (4.46,1.13,4.57,1.195), (4.505,1.13,4.57,1.195), (4.505,1.13,4.745,1.195), (4.68,1.13,4.745,1.195), (4.68,1.13,4.745,1.195), (4.68,1.13,4.745,1.195), (4.68,1.13,4.9,1.195), (2.94,1.152,3.005,1.287), (3.305,1.187,3.44,1.252), (3.375,1.187,3.44,1.35), (2.94,1.222,3.005,1.35), (0,1.285,5.87,1.4), (0.045,1.285,0.11,1.35), (0.045,1.285,0.11,1.35)])
R(square_complex1_06w, L18_0, [(0,0,5.87,0.115), (0.045,0.05,0.11,0.115), (0.045,0.05,0.11,0.115), (0.045,0.05,0.11,0.115), (0.045,0.05,0.11,0.115), (0.045,0.05,0.11,0.115), (0.045,0.05,0.11,0.115), (0.045,0.05,0.11,0.53), (2.93,0.05,2.995,0.115), (2.93,0.05,2.995,0.115), (2.93,0.05,2.995,0.115), (2.93,0.05,2.995,0.115), (2.93,0.05,2.995,0.415), (3.37,0.05,3.435,0.115), (3.37,0.05,3.435,0.115), (3.37,0.05,3.435,0.115), (3.37,0.05,3.435,0.115), (3.37,0.05,3.435,0.437), (5.57,0.05,5.635,0.115), (5.57,0.05,5.635,0.115), (5.57,0.05,5.635,0.295), (0.515,0.205,0.58,0.34), (5.57,0.23,5.635,0.295), (5.57,0.23,5.635,0.295), (5.57,0.23,5.635,0.505), (0.515,0.24,0.587,0.305), (0.522,0.24,0.587,0.305), (0.522,0.24,0.822,0.305), (0.757,0.24,0.822,0.305), (0.757,0.24,0.822,0.305), (0.757,0.24,0.822,0.305), (0.757,0.24,0.96,0.305), (0.895,0.24,1.03,0.305), (0.965,0.24,1.03,0.305), (0.965,0.24,1.03,0.305), (0.965,0.24,1.275,0.305), (1.21,0.24,1.275,0.305), (1.21,0.24,1.445,0.305), (1.38,0.24,1.445,0.38), (1.38,0.315,1.445,0.38), (1.38,0.315,1.445,0.45), (2.93,0.35,3.065,0.415), (5.195,0.37,5.26,0.505), (3.37,0.372,3.435,0.437), (3.37,0.372,3.435,0.437), (3.37,0.372,3.435,0.507), (2.255,0.38,2.33,0.52), (2.265,0.42,2.33,0.485), (5.195,0.44,5.397,0.505), (5.332,0.44,5.397,0.505), (5.332,0.44,5.397,0.505), (5.332,0.44,5.397,0.505), (5.332,0.44,5.635,0.505), (5.57,0.44,5.635,0.505), (5.57,0.44,5.635,0.505), (5.57,0.44,5.635,0.505), (5.57,0.44,5.635,0.505), (0.045,0.465,0.11,0.6), (0.515,0.54,0.587,0.675), (5.092,0.577,5.172,0.712), (0.522,0.61,0.587,0.92), (5.107,0.612,5.172,0.677), (3.96,0.635,4.095,0.712), (3.995,0.647,4.06,0.712), (0.845,0.715,0.995,0.782), (0.895,0.717,0.96,0.782), (0.045,0.78,0.11,1.055), (0.522,0.855,0.657,0.92), (0.557,0.855,0.622,0.92), (0.575,0.855,0.64,0.92), (0.575,0.855,0.64,0.92), (0.575,0.855,0.64,0.92), (0.575,0.855,0.64,0.99), (0.575,0.855,0.822,0.92), (0.757,0.855,0.822,0.92), (0.757,0.855,0.822,0.92), (0.757,0.855,0.822,0.92), (0.757,0.855,0.985,0.92), (0.92,0.855,1.055,0.92), (0.99,0.855,1.055,0.92), (0.99,0.855,1.055,0.92), (0.99,0.855,1.275,0.92), (1.21,0.855,1.275,0.92), (1.21,0.855,1.412,0.92), (1.347,0.855,1.412,0.92), (1.347,0.855,1.412,0.92), (1.347,0.855,1.482,0.92), (0.045,0.99,0.11,1.35), (5.57,1.05,5.635,1.185), (5.16,1.06,5.295,1.125), (5.23,1.06,5.295,1.35), (5.57,1.12,5.635,1.35), (2.94,1.152,3.005,1.287), (3.305,1.187,3.44,1.252), (3.375,1.187,3.44,1.35), (2.94,1.222,3.005,1.35), (0,1.285,5.87,1.4), (0.045,1.285,0.11,1.35), (0.045,1.285,0.11,1.35)])
R(square_complex1_06w, boundary, [(0,0,5.87,1.4)])
square_complex1_06w.add(gdstk.Label('A', (5.14,0.645), layer=11, texttype=0))
square_complex1_06w.add(gdstk.Label('B', (0.927,0.75), layer=11, texttype=0))
square_complex1_06w.add(gdstk.Label('C', (4.027,0.68), layer=11, texttype=0))
square_complex1_06w.add(gdstk.Label('Y', (0.59,0.887), layer=11, texttype=0))
square_complex1_06w.add(gdstk.Label('VCC', (0,1.4), layer=11, texttype=0))
square_complex1_06w.add(gdstk.Label('GND', (0,0), layer=11, texttype=0))

lib.write_gds('SQUARE_COMPLEX1_06W.gds')
